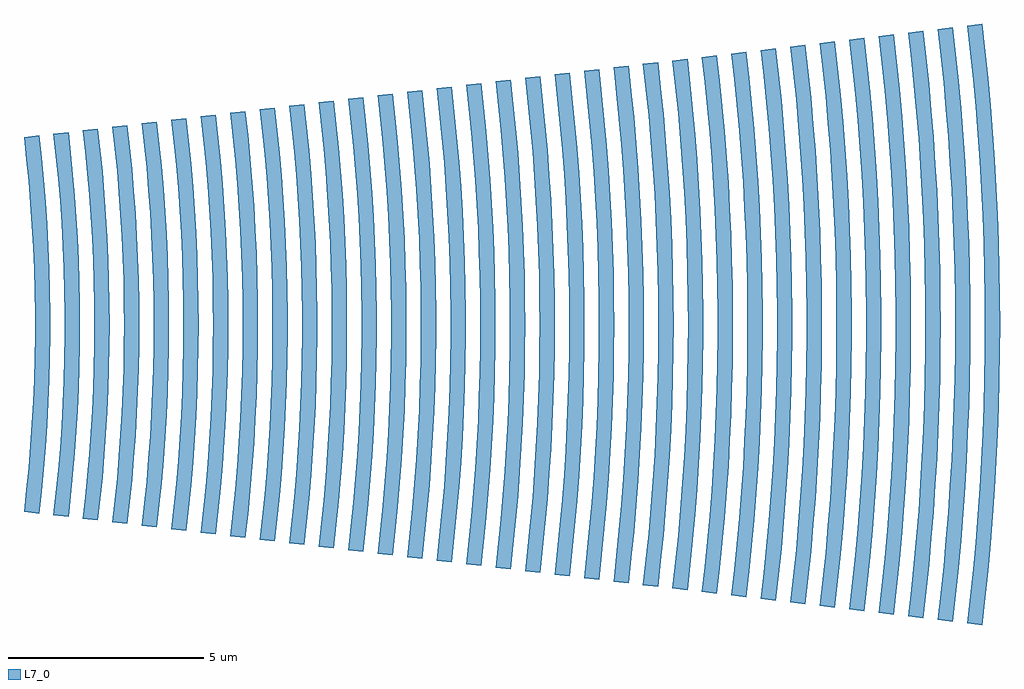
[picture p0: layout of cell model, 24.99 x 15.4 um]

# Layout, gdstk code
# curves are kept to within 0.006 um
import gdstk
lib = gdstk.Library(unit=1e-6, precision=1e-10)
def P(c, l, *ps):  # polygons
    for p in ps: c.add(gdstk.Polygon(p, *l))
L7_0 = (7, 0)

model = lib.new_cell('model')
P(model, L7_0, [(23.0444,-4.2062),(23.1195,-2.8052),(23.1646,-1.4029),(23.1796,0),(23.1646,1.4029),(23.1195,2.8052),(23.0444,4.2062),(22.9392,5.6052),(22.8754,6.3038),(22.7254,7.6988),(22.3405,7.6532),(22.4188,6.9602),(22.5531,5.572),(22.6576,4.1813),(22.7322,2.7886),(22.7584,2.0917),(22.7883,0.6973),(22.792,0),(22.7883,-0.6973),(22.7584,-2.0917),(22.7322,-2.7886),(22.6576,-4.1813),(22.5531,-5.572),(22.4188,-6.9602),(22.3405,-7.6532),(22.7254,-7.6988),(22.8754,-6.3038),(22.9392,-5.6052)],
  [(22.119,-6.2306),(22.2377,-4.849),(22.3268,-3.4652),(22.3602,-2.7726),(22.3862,-2.0797),(22.4159,-0.6934),(22.4159,0.6934),(22.3862,2.0797),(22.3602,2.7726),(22.2859,4.1573),(22.2377,4.849),(22.119,6.2306),(21.9707,7.6094),(21.5858,7.5638),(21.6632,6.879),(21.7959,5.507),(21.8512,4.82),(21.9397,3.4444),(21.9988,2.0673),(22.0283,0.6892),(22.032,0),(22.0283,-0.6892),(21.9988,-2.0673),(21.9397,-3.4444),(21.8512,-4.82),(21.7959,-5.507),(21.6632,-6.879),(21.5858,-7.5638),(21.9707,-7.6094)],
  [(21.6596,0),(21.6559,0.6852),(21.6266,2.0553),(21.6009,2.7401),(21.5275,4.1085),(21.4798,4.7921),(21.3625,6.1575),(21.216,7.52),(20.8311,7.4745),(20.9767,6.1202),(21.0933,4.763),(21.1407,4.0836),(21.1808,3.4037),(21.2392,2.0429),(21.2574,1.362),(21.272,0),(21.2574,-1.362),(21.2392,-2.0429),(21.1808,-3.4037),(21.1407,-4.0836),(21.0933,-4.763),(20.9767,-6.1202),(20.8311,-7.4745),(21.216,-7.52),(21.2929,-6.8392),(21.3625,-6.1575),(21.4798,-4.7921),(21.5678,-3.4245),(21.6266,-2.0553),(21.6449,-1.3703)],
  [(20.8986,0.3547),(20.8747,1.7731),(20.819,3.1906),(20.7792,3.8988),(20.7315,4.6065),(20.6122,6.0201),(20.4612,7.4307),(20.0763,7.3851),(20.2264,5.9832),(20.2896,5.2811),(20.3924,3.8749),(20.4319,3.171),(20.4873,1.7622),(20.511,0.3525),(20.511,-0.3525),(20.4873,-1.7622),(20.4319,-3.171),(20.3924,-3.8749),(20.2896,-5.2811),(20.2264,-5.9832),(20.0763,-7.3851),(20.4612,-7.4307),(20.5407,-6.7258),(20.6758,-5.3137),(20.7315,-4.6065),(20.819,-3.1906),(20.8747,-1.7731),(20.8986,-0.3547)],
  [(20.06,-3.1522),(20.115,-1.7518),(20.1386,-0.3504),(20.1386,0.3504),(20.115,1.7518),(20.06,3.1522),(19.9735,4.5511),(19.8557,5.9477),(19.7065,7.3413),(19.3216,7.2958),(19.3996,6.6037),(19.5323,5.2172),(19.6338,3.828),(19.6729,3.1327),(19.7276,1.7409),(19.751,0.3482),(19.7432,-1.0446),(19.7276,-1.7409),(19.6729,-3.1327),(19.6338,-3.828),(19.5323,-5.2172),(19.3996,-6.6037),(19.3216,-7.2958),(19.7065,-7.3413),(19.8557,-5.9477),(19.9185,-5.2498),(20.0207,-3.8519)],
  [(19.332,-2.4223),(19.3553,-1.7304),(19.3786,-0.3461),(19.3708,1.0383),(19.332,2.4223),(19.2621,3.805),(19.1612,5.1859),(19.0293,6.5641),(18.9518,7.252),(18.5669,7.2064),(18.7133,5.8384),(18.775,5.1533),(18.8752,3.7811),(18.9138,3.0943),(18.9679,1.7196),(18.991,0.344),(18.991,-0.344),(18.9679,-1.7196),(18.9138,-3.0943),(18.829,-4.4675),(18.775,-5.1533),(18.7133,-5.8384),(18.5669,-7.2064),(18.9518,-7.252),(19.0293,-6.5641),(19.1612,-5.1859),(19.2621,-3.805)],
  [(18.611,-1.0256),(18.6186,-0.3419),(18.611,1.0256),(18.5726,2.3925),(18.5419,3.0755),(18.5036,3.7582),(18.4039,5.122),(18.3426,5.8029),(18.1971,7.1626),(17.8121,7.1171),(17.8882,6.4419),(18.0177,5.0894),(18.1167,3.7342),(18.1548,3.0559),(18.2082,1.6982),(18.231,0.3397),(18.231,-0.3397),(18.2082,-1.6982),(18.1548,-3.0559),(18.1167,-3.7342),(18.0177,-5.0894),(17.8882,-6.4419),(17.8121,-7.1171),(18.1971,-7.1626),(18.3426,-5.8029),(18.4039,-5.122),(18.5036,-3.7582),(18.5726,-2.3925)],
  [(17.8132,-2.3626),(17.8511,-1.0128),(17.8586,-0.3376),(17.8511,1.0128),(17.8132,2.3626),(17.745,3.7113),(17.6466,5.0581),(17.586,5.7306),(17.4423,7.0733),(17.0574,7.0277),(17.2002,5.6936),(17.2604,5.0255),(17.3581,3.6874),(17.3958,3.0176),(17.4485,1.6769),(17.471,0.3354),(17.4635,-1.0062),(17.4485,-1.6769),(17.3958,-3.0176),(17.313,-4.3567),(17.2604,-5.0255),(17.2002,-5.6936),(17.0574,-7.0277),(17.4423,-7.0733),(17.586,-5.7306),(17.6466,-5.0581),(17.745,-3.7113)],
  [(17.0762,-1.6665),(17.0912,-1),(17.0987,0.3333),(17.0912,1),(17.0538,2.3328),(16.9865,3.6644),(16.8893,4.9942),(16.7623,6.3214),(16.6876,6.9839),(16.3027,6.9383),(16.4437,5.6212),(16.555,4.3013),(16.5996,3.6405),(16.6665,2.3175),(16.6888,1.6556),(16.7111,0.3312),(16.7111,-0.3312),(16.6888,-1.6556),(16.6665,-2.3175),(16.5996,-3.6405),(16.555,-4.3013),(16.4437,-5.6212),(16.3027,-6.9383),(16.6876,-6.9839),(16.8295,-5.6582),(16.9416,-4.3296),(17.0238,-2.9988)],
  [(16.2944,-2.3029),(16.3313,-0.9872),(16.3387,-0.3291),(16.3313,0.9872),(16.2944,2.3029),(16.2279,3.6175),(16.132,4.9303),(16.0066,6.2406),(15.9329,6.8946),(15.548,6.849),(15.6871,5.5488),(15.7457,4.8977),(15.841,3.5936),(15.9071,2.2877),(15.9291,1.6343),(15.9511,0.3269),(15.9511,-0.3269),(15.9291,-1.6343),(15.8777,-2.9408),(15.841,-3.5936),(15.7457,-4.8977),(15.6212,-6.1993),(15.548,-6.849),(15.9329,-6.8946),(16.0066,-6.2406),(16.132,-4.9303),(16.2279,-3.6175)],
  [(15.4693,-3.5706),(15.5349,-2.2731),(15.5714,-0.9744),(15.5787,0.3248),(15.5568,1.6238),(15.5058,2.922),(15.4256,4.2188),(15.3164,5.5134),(15.1781,6.8052),(14.7932,6.7596),(14.9367,5.4122),(14.9965,4.7373),(15.0922,3.3857),(15.1561,2.0322),(15.188,0.6775),(15.192,0),(15.188,-0.6775),(15.1561,-2.0322),(15.0922,-3.3857),(14.9965,-4.7373),(14.9367,-5.4122),(14.7932,-6.7596),(15.1781,-6.8052),(15.2509,-6.1597),(15.3747,-4.8664)],
  [(14.8156,0.6731),(14.7839,2.019),(14.7205,3.3638),(14.6769,4.0355),(14.5659,5.3772),(14.4234,6.7158),(14.0385,6.6703),(14.1132,6.0059),(14.2391,4.6747),(14.3335,3.3409),(14.3965,2.0053),(14.4162,1.337),(14.432,0),(14.4162,-1.337),(14.3965,-2.0053),(14.3335,-3.3409),(14.2391,-4.6747),(14.1132,-6.0059),(14.0385,-6.6703),(14.4234,-6.7158),(14.5659,-5.3772),(14.6769,-4.0355),(14.7205,-3.3638),(14.7839,-2.019),(14.8037,-1.3462),(14.8196,0)],
  [(14.0439,1.3282),(13.997,2.6558),(13.9188,3.9818),(13.8093,5.3056),(13.6687,6.6265),(13.2838,6.5809),(13.4234,5.2691),(13.5321,3.9544),(13.5748,3.2962),(13.637,1.9784),(13.6681,0.6596),(13.672,0),(13.6681,-0.6596),(13.637,-1.9784),(13.5748,-3.2962),(13.5321,-3.9544),(13.4234,-5.2691),(13.2838,-6.5809),(13.6687,-6.6265),(13.7429,-5.9665),(13.8679,-4.644),(13.9188,-3.9818),(13.997,-2.6558),(14.0244,-1.9921),(14.0557,-0.6642),(14.0557,0.6642)],
  [(13.2378,2.6199),(13.1607,3.9281),(13.1105,4.5814),(13.0527,5.2341),(12.914,6.5371),(12.529,6.4916),(12.6668,5.1976),(12.7242,4.5495),(12.8162,3.2514),(12.8507,2.6017),(12.8967,1.3012),(12.912,0),(12.8967,-1.3012),(12.8507,-2.6017),(12.8162,-3.2514),(12.7242,-4.5495),(12.6668,-5.1976),(12.529,-6.4916),(12.914,-6.5371),(13.0527,-5.2341),(13.1607,-3.9281),(13.2031,-3.2742),(13.2648,-1.9653),(13.2841,-1.3103),(13.2996,0),(13.2841,1.3103)],
  [(12.5396,0),(12.5244,1.2924),(12.4787,2.5841),(12.4444,3.2295),(12.4026,3.8744),(12.2961,5.1625),(12.1592,6.4478),(11.7743,6.4022),(11.9102,5.126),(11.9668,4.4868),(12.0575,3.2067),(12.118,1.9247),(12.1369,1.2833),(12.152,0),(12.1369,-1.2833),(12.118,-1.9247),(12.0575,-3.2067),(11.9668,-4.4868),(11.9102,-5.126),(11.7743,-6.4022),(12.1592,-6.4478),(12.2961,-5.1625),(12.4026,-3.8744),(12.4444,-3.2295),(12.4787,-2.5841),(12.5244,-1.2924)],
  [(11.7646,-1.2745),(11.7796,0),(11.7758,0.6373),(11.7646,1.2745),(11.7195,2.5483),(11.6445,3.8207),(11.5957,4.4562),(11.4757,5.7251),(11.4045,6.3584),(11.0196,6.3128),(11.1536,5.0545),(11.2094,4.4242),(11.2988,3.1619),(11.3323,2.5301),(11.3771,1.2654),(11.392,0),(11.3771,-1.2654),(11.3323,-2.5301),(11.2988,-3.1619),(11.2094,-4.4242),(11.1536,-5.0545),(11.0196,-6.3128),(11.4045,-6.3584),(11.5394,-5.091),(11.6445,-3.8207),(11.7195,-2.5483)],
  [(11.0159,-0.6283),(11.0196,0),(11.0048,1.2566),(10.9863,1.8847),(10.9271,3.14),(10.8383,4.3935),(10.72,5.6446),(10.6498,6.2691),(10.2649,6.2235),(10.3969,4.9829),(10.452,4.3616),(10.5401,3.1172),(10.5732,2.4942),(10.6173,1.2475),(10.632,0),(10.6173,-1.2475),(10.5732,-2.4942),(10.5401,-3.1172),(10.452,-4.3616),(10.3969,-4.9829),(10.2649,-6.2235),(10.6498,-6.2691),(10.72,-5.6446),(10.8383,-4.3935),(10.9271,-3.14),(10.9863,-1.8847)],
  [(10.245,1.2387),(10.2012,2.4767),(10.1283,3.7133),(10.0262,4.9479),(9.895,6.1797),(9.5101,6.1341),(9.5788,5.5231),(9.6946,4.299),(9.7814,3.0724),(9.8394,1.8441),(9.8684,0.6148),(9.872,0),(9.8684,-0.6148),(9.8394,-1.8441),(9.7814,-3.0724),(9.6946,-4.299),(9.6403,-4.9114),(9.5101,-6.1341),(9.895,-6.1797),(10.0262,-4.9479),(10.0809,-4.3309),(10.1283,-3.7133),(10.2012,-2.4767),(10.245,-1.2387),(10.2559,-0.6194),(10.2596,0)],
  [(9.4508,-2.2483),(9.4747,-1.6062),(9.4986,-0.3213),(9.4906,0.9638),(9.4508,2.2483),(9.3791,3.5314),(9.3313,4.1722),(9.2756,4.8124),(9.1403,6.0903),(8.7554,6.0448),(8.8896,4.7764),(8.9924,3.505),(9.0319,2.8685),(9.0873,1.5942),(9.111,0.3189),(9.111,-0.3189),(9.0873,-1.5942),(9.0319,-2.8685),(8.9924,-3.505),(8.8896,-4.7764),(8.7554,-6.0448),(9.1403,-6.0903),(9.2756,-4.8124),(9.3313,-4.1722),(9.3791,-3.5314)],
  [(8.715,1.5826),(8.6601,2.8477),(8.5738,4.111),(8.5189,4.7418),(8.3856,6.001),(8.0007,5.9554),(8.0707,5.331),(8.1874,4.0798),(8.2731,2.8261),(8.3276,1.5706),(8.351,0.3142),(8.3432,-0.9425),(8.3043,-2.1985),(8.2731,-2.8261),(8.1874,-4.0798),(8.0707,-5.331),(8.0007,-5.9554),(8.3856,-6.001),(8.5189,-4.7418),(8.5738,-4.111),(8.6601,-2.8477),(8.6915,-2.2153),(8.7308,-0.9497),(8.7386,-0.3166),(8.7308,0.9497)],
  [(7.8162,4.0498),(7.7621,4.6712),(7.6309,5.9116),(7.2459,5.8661),(7.3149,5.251),(7.4299,4.0186),(7.5143,2.7837),(7.568,1.547),(7.591,0.3095),(7.5834,-0.9283),(7.545,-2.1655),(7.5143,-2.7837),(7.4299,-4.0186),(7.3149,-5.251),(7.2459,-5.8661),(7.6309,-5.9116),(7.7621,-4.6712),(7.8626,-3.4278),(7.9322,-2.1823),(7.9709,-0.9355),(7.9786,0.3119),(7.9554,1.559),(7.9013,2.8053)],
  [(7.0054,-4.6005),(7.0587,-3.9886),(7.1425,-2.7629),(7.1958,-1.5355),(7.2186,-0.3071),(7.211,0.9214),(7.1729,2.1493),(7.1044,3.376),(7.0054,4.6005),(6.8761,5.8223),(6.4912,5.7767),(6.5591,5.171),(6.6724,3.9574),(6.7555,2.7413),(6.8084,1.5235),(6.831,0.3047),(6.8235,-0.9142),(6.8084,-1.5235),(6.7555,-2.7413),(6.6724,-3.9574),(6.5591,-5.171),(6.4912,-5.7767),(6.8761,-5.8223)],
  [(6.4136,2.1164),(6.3836,2.7205),(6.3012,3.9274),(6.1888,5.1318),(6.1214,5.7329),(5.7365,5.6873),(5.8628,4.4939),(5.9148,3.8961),(5.9966,2.6989),(6.0487,1.4999),(6.0711,0.3),(6.0711,-0.3),(6.0487,-1.4999),(5.9966,-2.6989),(5.9148,-3.8961),(5.8628,-4.4939),(5.7365,-5.6873),(6.1214,-5.7329),(6.1888,-5.1318),(6.3012,-3.9274),(6.3836,-2.7205),(6.4136,-2.1164),(6.4361,-1.5119),(6.4587,-0.3024),(6.4511,0.9072)],
  [(5.6544,2.0834),(5.5879,3.2724),(5.5436,3.8661),(5.492,4.4593),(5.3667,5.6436),(4.9818,5.598),(5.1061,4.4233),(5.2012,3.2459),(5.2671,2.0666),(5.2891,1.4763),(5.3111,0.2953),(5.3111,-0.2953),(5.2891,-1.4763),(5.2378,-2.6564),(5.1573,-3.8349),(5.1061,-4.4233),(4.9818,-5.598),(5.3667,-5.6436),(5.492,-4.4593),(5.5436,-3.8661),(5.5879,-3.2724),(5.6544,-2.0834),(5.6913,-0.8931),(5.6987,-0.2977),(5.6913,0.8931)],
  [(4.7353,-4.3887),(4.8297,-3.2205),(4.8951,-2.0504),(4.9314,-0.879),(4.9387,0.293),(4.9169,1.4648),(4.8951,2.0504),(4.8297,3.2205),(4.7353,4.3887),(4.6119,5.5542),(4.227,5.5086),(4.3494,4.3527),(4.443,3.1941),(4.479,2.614),(4.5295,1.4528),(4.5511,0.2906),(4.5439,-0.8718),(4.5295,-1.4528),(4.479,-2.614),(4.3998,-3.7737),(4.3494,-4.3527),(4.227,-5.5086),(4.6119,-5.5542)],
  [(4.1637,-1.2171),(4.1796,0),(4.1756,0.6086),(4.1437,1.8254),(4.08,3.0409),(4.0362,3.6479),(3.9845,4.2543),(3.8572,5.4649),(3.4723,5.4193),(3.5985,4.2189),(3.6498,3.6175),(3.7288,2.413),(3.7762,1.2069),(3.792,0),(3.7762,-1.2069),(3.7288,-2.413),(3.6498,-3.6175),(3.5985,-4.2189),(3.4723,-5.4193),(3.8572,-5.4649),(3.9845,-4.2543),(4.08,-3.0409),(4.1437,-1.8254)],
  [(3.2277,-4.1848),(3.3216,-2.9912),(3.3843,-1.7955),(3.4157,-0.5986),(3.4157,0.5986),(3.3843,1.7955),(3.3216,2.9912),(3.2277,4.1848),(3.1025,5.3755),(2.7176,5.3299),(2.8417,4.1493),(2.9349,2.9658),(2.997,1.7803),(3.0281,0.5936),(3.032,0),(3.0281,-0.5936),(2.997,-1.7803),(2.9349,-2.9658),(2.8417,-4.1493),(2.7176,-5.3299),(3.1025,-5.3755)],
  [(2.5979,-2.3538),(2.6442,-1.1773),(2.6557,-0.5887),(2.6596,0),(2.6442,1.1773),(2.6249,1.7657),(2.5633,2.9414),(2.4709,4.1152),(2.3478,5.2861),(1.9628,5.2406),(2.0849,4.0797),(2.1345,3.4982),(2.2109,2.3335),(2.2567,1.1671),(2.272,0),(2.2567,-1.1671),(2.2109,-2.3335),(2.1345,-3.4982),(2.0849,-4.0797),(1.9628,-5.2406),(2.3478,-5.2861),(2.4709,-4.1152),(2.5633,-2.9414)],
  [(1.839,-2.314),(1.8844,-1.1574),(1.8996,0),(1.8958,0.5787),(1.8655,1.7358),(1.839,2.314),(1.7632,3.469),(1.6573,4.6216),(1.593,5.1968),(1.2081,5.1512),(1.3281,4.0102),(1.4181,2.8664),(1.4519,2.2937),(1.497,1.1472),(1.512,0),(1.497,-1.1472),(1.4519,-2.2937),(1.4181,-2.8664),(1.3281,-4.0102),(1.2081,-5.1512),(1.593,-5.1968),(1.714,-4.0456),(1.8049,-2.8917)],
  [(1.0056,-3.4093),(1.0465,-2.842),(1.1061,-1.706),(1.1359,-0.5688),(1.1359,0.5688),(1.1061,1.706),(1.0465,2.842),(0.9572,3.9761),(0.8383,5.1074),(0.4534,5.0619),(0.5713,3.9406),(0.6598,2.8166),(0.7188,1.6908),(0.7483,0.5637),(0.752,0),(0.7483,-0.5637),(0.7188,-1.6908),(0.6598,-2.8166),(0.5713,-3.9406),(0.4534,-5.0619),(0.8383,-5.1074),(0.9015,-4.5421)],
  [(0.3211,-2.2344),(0.365,-1.1176),(0.3759,-0.5588),(0.3796,0),(0.365,1.1176),(0.3211,2.2344),(0.2882,2.7923),(0.2004,3.9065),(0.0836,5.0181),(-0.3013,4.9725),(-0.1855,3.871),(-0.0986,2.7669),(-0.0406,1.6609),(-0.0116,0.5538),(-0.008,0),(-0.0116,-0.5538),(-0.0406,-1.6609),(-0.0986,-2.7669),(-0.1855,-3.871),(-0.3013,-4.9725),(0.0836,-5.0181),(0.2004,-3.9065),(0.2882,-2.7923)],
  [(-0.4128,-1.6463),(-0.3948,-1.0977),(-0.3804,0),(-0.3948,1.0977),(-0.4128,1.6463),(-0.4702,2.7426),(-0.5097,3.29),(-0.6102,4.3832),(-0.6712,4.9287),(-1.0561,4.8831),(-0.9365,3.7378),(-0.8488,2.5895),(-0.793,1.4393),(-0.769,0.2879),(-0.777,-0.8637),(-0.8169,-2.0146),(-0.8488,-2.5895),(-0.9365,-3.7378),(-1.0561,-4.8831),(-0.6712,-4.9287),(-0.6102,-4.3832),(-0.5097,-3.29),(-0.4702,-2.7426)],
  [(-1.26,-3.1356),(-1.2205,-2.5663),(-1.1651,-1.4264),(-1.1414,-0.2853),(-1.1493,0.8559),(-1.1889,1.9965),(-1.26,3.1356),(-1.3627,4.2722),(-1.4259,4.8394),(-1.8108,4.7938),(-1.6935,3.6694),(-1.6073,2.5421),(-1.5525,1.4129),(-1.529,0.2826),(-1.5368,-0.8479),(-1.576,-1.9777),(-1.6073,-2.5421),(-1.6935,-3.6694),(-1.8108,-4.7938),(-1.4259,-4.8394),(-1.3627,-4.2722)])

lib.write_gds('model.gds')
